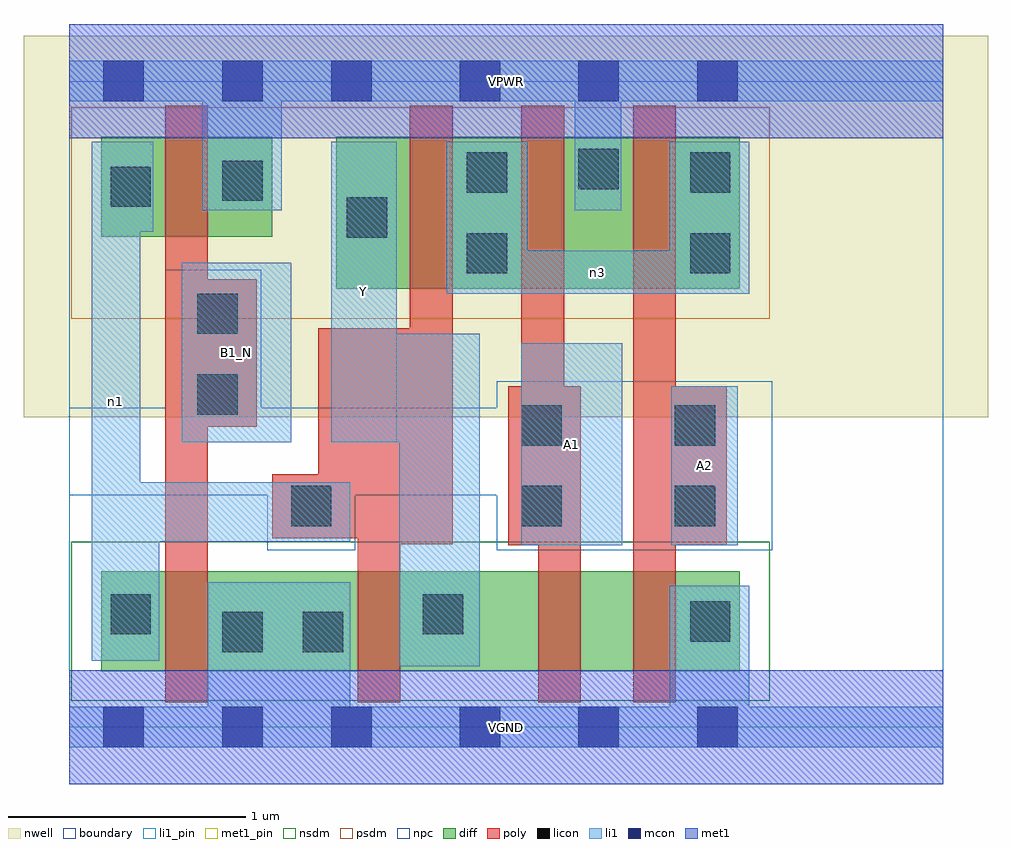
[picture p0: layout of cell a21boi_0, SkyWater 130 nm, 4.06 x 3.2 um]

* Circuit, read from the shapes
.subckt a21boi_0 A1 A2 B1_N VGND VPWR Y n1 n3
XM1 VGND B1_N n1 VSUBS sky130_fd_pr__nfet_01v8 w=0.42 l=0.18
XM2 Y n1 VGND VSUBS sky130_fd_pr__nfet_01v8 w=0.42 l=0.18
XM3 n2 A1 Y VSUBS sky130_fd_pr__nfet_01v8 w=0.42 l=0.18
XM4 VGND A2 n2 VSUBS sky130_fd_pr__nfet_01v8 w=0.42 l=0.18
XM5 VPWR B1_N n1 n4 sky130_fd_pr__pfet_01v8 w=0.42 l=0.18
XM6 n3 n1 Y n4 sky130_fd_pr__pfet_01v8 w=0.64 l=0.18
XM7 VPWR A1 n3 n4 sky130_fd_pr__pfet_01v8 w=0.64 l=0.18
XM8 n3 A2 VPWR n4 sky130_fd_pr__pfet_01v8 w=0.64 l=0.18
.ends

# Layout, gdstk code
import gdstk
lib = gdstk.Library(unit=1e-6, precision=1e-09)
def R(c, l, rs):  # rectangles x0, y0, x1, y1
    for r in rs: c.add(gdstk.rectangle(r[:2], r[2:], *l))
def A(c, l, x, y, w, h, nx, ny, dx, dy):  # array of equal rectangles
    R(c, l, [(x+i*dx, y+j*dy, x+i*dx+w, y+j*dy+h) for i in range(nx) for j in range(ny)])
nwell = (64, 20)
diff = (65, 20)
poly = (66, 20)
licon = (66, 44)
li1_pin = (67, 16)
li1 = (67, 20)
mcon = (67, 44)
met1_pin = (68, 16)
met1 = (68, 20)
nsdm = (93, 44)
psdm = (94, 20)
npc = (95, 20)
boundary = (235, 4)

a21boi_0 = lib.new_cell('a21boi_0')
R(a21boi_0, nwell, [(-0.19,1.305,3.87,2.91), (0,1.305,3.68,2.91)])
R(a21boi_0, diff, [(0.135,0.235,2.825,0.655), (1.125,1.845,2.825,2.485), (0.135,2.065,0.855,2.485)])
R(a21boi_0, poly, [(0.405,0.105,0.585,2.615), (1.215,0.105,1.395,1.68), (1.975,0.105,2.085,2.615), (1.975,0.105,2.155,1.435), (2.375,0.105,2.555,2.615), (1.85,0.765,2.155,1.435), (1.905,0.765,1.975,2.615), (2.375,0.765,2.77,1.435), (1.215,0.77,1.615,1.68), (1.435,0.77,1.615,2.615), (0.855,0.795,1.615,1.065), (1.05,1.065,1.615,1.68), (0.405,1.265,0.79,1.885)])
R(a21boi_0, licon, [(0.645,0.315,0.815,0.485), (0.985,0.315,1.155,0.485), (2.615,0.36,2.785,0.53), (0.175,0.39,0.345,0.56), (1.49,0.39,1.66,0.56), (0.935,0.845,1.105,1.015), (1.905,0.845,2.075,1.015), (2.55,0.845,2.72,1.015), (1.905,1.185,2.075,1.355), (2.55,1.185,2.72,1.355), (0.54,1.315,0.71,1.485), (0.54,1.655,0.71,1.825), (1.675,1.91,1.845,2.08), (2.615,1.91,2.785,2.08), (1.17,2.06,1.34,2.23), (0.175,2.19,0.345,2.36), (0.645,2.215,0.815,2.385), (1.675,2.25,1.845,2.42), (2.615,2.25,2.785,2.42), (2.145,2.265,2.315,2.435)])
R(a21boi_0, li1_pin, [(1.905,0.765,2.33,1.615), (2.535,0.765,2.815,1.435), (0.475,1.2,0.935,1.955), (1.105,1.2,1.38,2.465)])
R(a21boi_0, li1, [(0,-0.085,3.68,0.085), (0.585,-0.085,1.185,0.61), (2.53,-0.085,2.865,0.595), (1.39,0.255,1.73,1.655), (0.095,0.28,0.3,2.465), (0.095,0.28,0.38,1.03), (1.905,0.765,2.33,1.615), (2.535,0.765,2.815,1.435), (0.095,0.78,1.185,1.03), (0.475,1.2,0.935,1.955), (1.105,1.2,1.38,2.465), (1.105,1.2,1.73,1.655), (1.59,1.825,2.865,2.005), (1.59,1.825,1.93,2.465), (2.53,1.825,2.865,2.465), (0.095,2.085,0.355,2.465), (0.56,2.175,0.895,2.805), (2.13,2.175,2.325,2.805), (0,2.635,3.68,2.805)])
A(a21boi_0, mcon, 1.645, -0.085, 0.17, 0.17, 3, 2, 0.5, 2.72)
R(a21boi_0, mcon, [(0.145,-0.085,0.315,0.085), (0.645,-0.085,0.815,0.085), (1.105,-0.085,1.275,0.085), (0.145,2.635,0.315,2.805), (0.645,2.635,0.815,2.805), (1.105,2.635,1.275,2.805)])
R(a21boi_0, met1_pin, [(0,-0.24,3.68,0.24), (0,2.48,3.68,2.96)])
R(a21boi_0, met1, [(0,-0.24,3.68,0.24), (0,2.48,3.68,2.96)])
R(a21boi_0, nsdm, [(0.01,0.11,2.95,0.78)])
R(a21boi_0, psdm, [(0.01,1.72,2.95,2.61)])
R(a21boi_0, npc, [(0.835,0.745,1.205,1.345), (1.8,0.745,2.96,1.455), (0,0.975,2.96,1.345), (0.405,0.975,0.81,1.925)])
R(a21boi_0, boundary, [(0,0,3.68,2.72)])
a21boi_0.add(gdstk.Label('A1', (2.117,1.19), layer=67, texttype=5))
a21boi_0.add(gdstk.Label('A2', (2.675,1.1), layer=67, texttype=5))
a21boi_0.add(gdstk.Label('B1_N', (0.705,1.577), layer=67, texttype=5))
a21boi_0.add(gdstk.Label('Y', (1.242,1.832), layer=67, texttype=5))
a21boi_0.add(gdstk.Label('n1', (0.197,1.372), layer=67, texttype=5))
a21boi_0.add(gdstk.Label('n3', (2.227,1.915), layer=67, texttype=5))
a21boi_0.add(gdstk.Label('VPWR', (1.84,2.72), layer=68, texttype=5))
a21boi_0.add(gdstk.Label('VGND', (1.84,0), layer=68, texttype=5))
a21boi_0.add(gdstk.Label('A1', (2.117,1.19), layer=67, texttype=16))
a21boi_0.add(gdstk.Label('A2', (2.675,1.1), layer=67, texttype=16))
a21boi_0.add(gdstk.Label('B1_N', (0.705,1.577), layer=67, texttype=16))
a21boi_0.add(gdstk.Label('Y', (1.242,1.832), layer=67, texttype=16))
a21boi_0.add(gdstk.Label('VPWR', (1.84,2.72), layer=68, texttype=16))
a21boi_0.add(gdstk.Label('VGND', (1.84,0), layer=68, texttype=16))

lib.write_gds('a21boi_0.gds')
